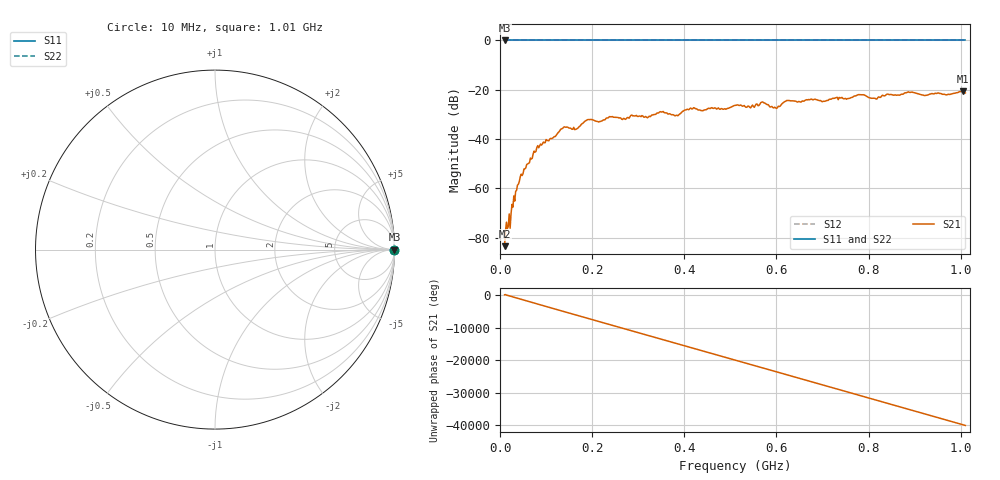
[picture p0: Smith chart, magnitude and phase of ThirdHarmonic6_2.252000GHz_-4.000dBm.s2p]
! 8/17/2025 2:42:50 AM
! C:\ANRITSUVNA\TEMP\TEMP.S2P
! CHANNEL.1
! TR.MEASUREMENT
! RAW.DATA
! RF.CORRECTION.OFF
! AVERAGING.OFF
! IF.BANDWIDTH: 5KHZ
! SWEEPTYPE:  FREQ.SWEEP(Linear)
! Reference Plane Port Info
! PORT:  PORT1  PORT2
! DISTANCE:  0  m  0  m
! TIME:  0  s  0  s
! PHASE.OFFSET:  0  deg.  0  deg.
! LOSS:  0  dB  0  dB
! REF.LOSS:  0  dB  0  dB
! REF.FREQ:  0  Hz  0  Hz
! Power Info
! POWER:  -20  dBm  -20  dBm
! EFF.POWER:  -20  dBm  -20  dBm
! SOURCE.ATTEN:  0  dB  0  dB
! TEST.ATTEN:  0  dB  0  dB
# GHZ S RI R 50.0
! FREQ.GHZ  S11RE  S11IM  S21RE  S21IM  S12RE  S12IM  S22RE  S22IM
!; PortSelection: Port_12
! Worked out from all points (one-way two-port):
!   501 points, 10 MHz to 1.01 GHz, reference 50 ohm
!   highest |S21| = -20.69 dB at 1.004 GHz (marker M1); lowest = -83.4 dB at 10 MHz (marker M2)
!   lowest |S11| = 0.0 dB at 10 MHz (marker M3)
!   |S11| at or under -10 dB: nowhere
!   |S22| runs from 0.0 to 0.0 dB; largest |S21 - S12| = 1.1
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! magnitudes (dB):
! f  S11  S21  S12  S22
! 10 MHz  0.0  -83.4  0.0  0.0
! 20 MHz  0.0  -70.3  0.0  0.0
! 42 MHz  0.0  -57.1  0.0  0.0
! 78 MHz  0.0  -45.0  0.0  0.0
! 136 MHz  0.0  -35.6  0.0  0.0
! 166 MHz  0.0  -35.9  0.0  0.0
! 178 MHz  0.0  -33.8  0.0  0.0
! 194 MHz  0.0  -32.1  0.0  0.0
! 322 MHz  0.0  -31.1  0.0  0.0
! 344 MHz  0.0  -29.4  0.0  0.0
! 382 MHz  0.0  -30.4  0.0  0.0
! 416 MHz  0.0  -27.7  0.0  0.0
! 510 MHz  0.0  -26.3  0.0  0.0
! 570 MHz  0.0  -24.9  0.0  0.0
! 598 MHz  0.0  -27.3  0.0  0.0
! 622 MHz  0.0  -24.4  0.0  0.0
! 678 MHz  0.0  -24.0  0.0  0.0
! 782 MHz  0.0  -22.0  0.0  0.0
! 814 MHz  0.0  -23.5  0.0  0.0
! 844 MHz  0.0  -21.9  0.0  0.0
! 1.004 GHz  0.0  -20.7  0.0  0.0
! 1.01 GHz  0.0  -21.3  0.0  0.0
